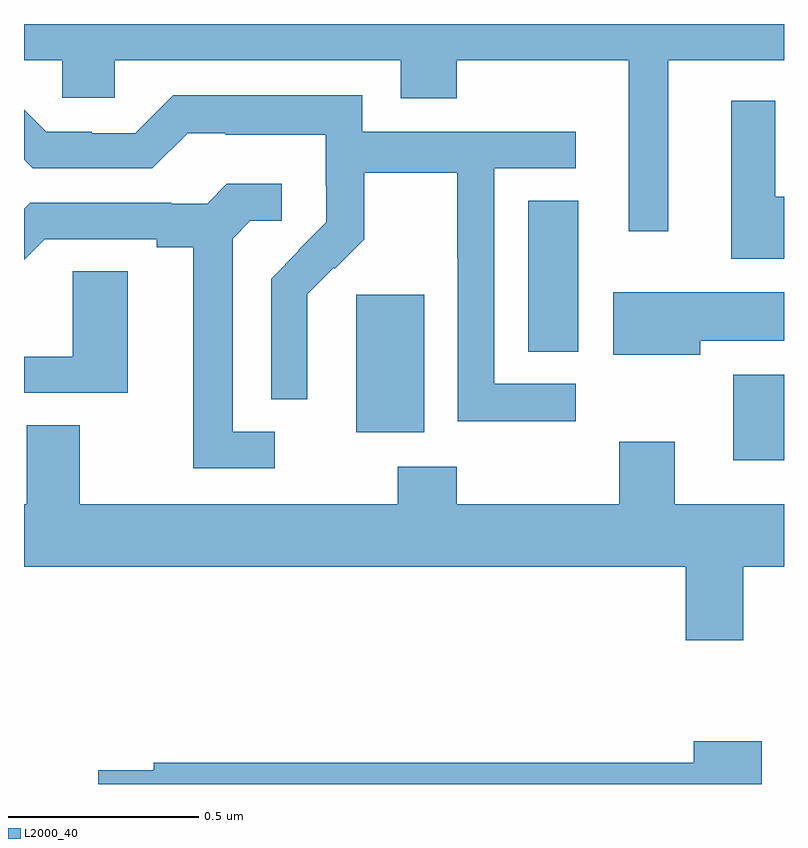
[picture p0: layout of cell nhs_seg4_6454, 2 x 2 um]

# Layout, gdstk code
import gdstk
lib = gdstk.Library(unit=1e-6, precision=1e-09)
def R(c, l, rs):  # rectangles x0, y0, x1, y1
    for r in rs: c.add(gdstk.rectangle(r[:2], r[2:], *l))
def P(c, l, *ps):  # polygons
    for p in ps: c.add(gdstk.Polygon(p, *l))
L2000_40 = (2000, 40)

nhs_seg4_6454 = lib.new_cell('nhs_seg4_6454')
R(nhs_seg4_6454, L2000_40, [(191.867,811.752,192,811.977), (190.874,811.826,191.053,812.187), (191.327,812.038,191.458,812.435)])
P(nhs_seg4_6454, L2000_40, [(190,812.804),(190.101,812.804),(190.101,812.706),(190.239,812.706),(190.239,812.804),(190.991,812.804),(190.991,812.705),(191.139,812.705),(191.139,812.804),(191.591,812.804),(191.591,812.355),(191.695,812.355),(191.695,812.804),(192,812.804),(192,812.9),(190,812.9)],
  [(191.452,811.953),(191.238,811.953),(191.238,812.52),(191.452,812.52),(191.452,812.616),(190.89,812.616),(190.89,812.713),(190.393,812.713),(190.293,812.613),(190.178,812.613),(190.178,812.616),(190.059,812.616),(190,812.675),(190,812.543),(190.023,812.52),(190.338,812.52),(190.431,812.613),(190.531,812.613),(190.531,812.609),(190.794,812.609),(190.794,812.475),(190.796,812.475),(190.796,812.378),(190.722,812.304),(190.723,812.303),(190.65,812.23),(190.65,811.912),(190.746,811.912),(190.746,812.066),(190.745,812.066),(190.745,812.189),(190.815,812.259),(190.818,812.256),(190.895,812.333),(190.895,812.508),(191.14,812.508),(191.14,812.284),(191.142,812.284),(191.142,811.855),(191.452,811.855)],
  [(192,812.446),(191.977,812.446),(191.977,812.698),(191.861,812.698),(191.861,812.282),(192,812.282)],
  [(190.66,811.827),(190.549,811.827),(190.549,812.335),(190.596,812.382),(190.678,812.382),(190.678,812.479),(190.534,812.479),(190.482,812.427),(190.388,812.427),(190.388,812.43),(190.016,812.43),(190,812.414),(190,812.28),(190.054,812.334),(190.349,812.334),(190.349,812.312),(190.445,812.312),(190.445,811.731),(190.66,811.731)],
  [(190.273,812.249),(190.128,812.249),(190.128,812.025),(190,812.025),(190,811.929),(190.273,811.929)],
  [(191.779,812.066),(192,812.066),(192,812.194),(191.55,812.194),(191.55,812.03),(191.779,812.03)],
  [(191.893,811.472),(192,811.472),(192,811.636),(191.713,811.636),(191.713,811.801),(191.566,811.801),(191.566,811.636),(191.139,811.636),(191.139,811.735),(190.984,811.735),(190.984,811.636),(190.147,811.636),(190.147,811.844),(190.007,811.844),(190.007,811.636),(190,811.636),(190,811.472),(191.741,811.472),(191.741,811.278),(191.893,811.278)],
  [(191.941,811.012),(191.762,811.012),(191.762,810.956),(190.342,810.956),(190.342,810.936),(190.196,810.936),(190.196,810.9),(191.941,810.9)])

lib.write_gds('nhs_seg4_6454.gds')
